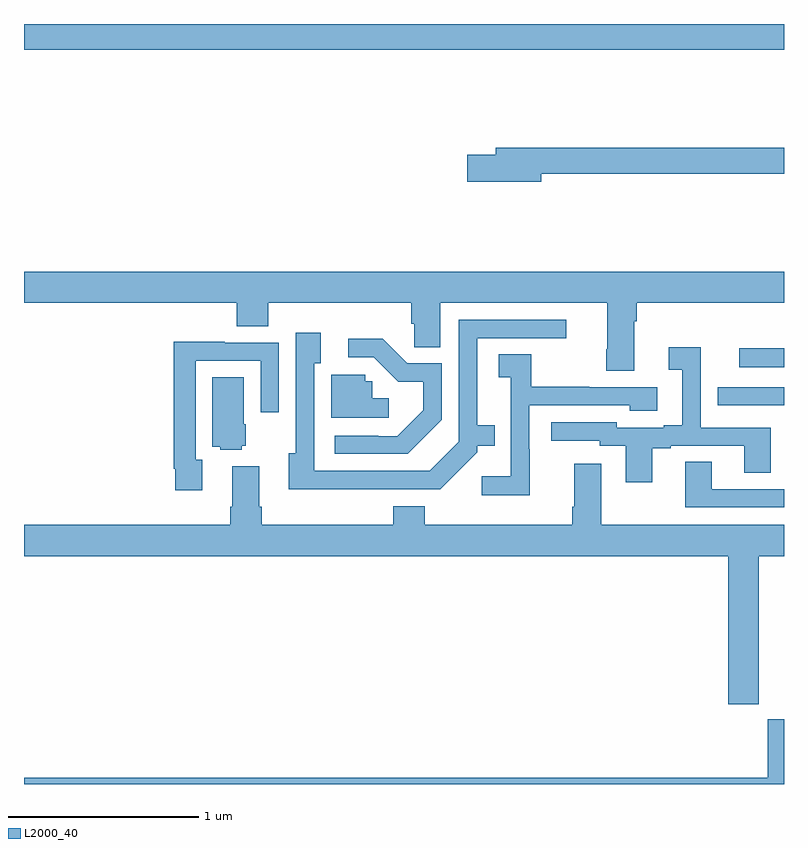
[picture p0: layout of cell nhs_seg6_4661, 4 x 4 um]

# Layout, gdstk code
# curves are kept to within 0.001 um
import gdstk
lib = gdstk.Library(unit=1e-6, precision=1e-09)
def R(c, l, rs):  # rectangles x0, y0, x1, y1
    for r in rs: c.add(gdstk.rectangle(r[:2], r[2:], *l))
def P(c, l, *ps):  # polygons
    for p in ps: c.add(gdstk.Polygon(p, *l))
L2000_40 = (2000, 40)

nhs_seg6_4661 = lib.new_cell('nhs_seg6_4661')
R(nhs_seg6_4661, L2000_40, [(390.765,917.694,391,917.793), (387,919.364,391,919.5)])
P(nhs_seg6_4661, L2000_40, [(389.722,918.712),(391,918.712),(391,918.848),(389.483,918.848),(389.483,918.812),(389.334,918.812),(389.334,918.67),(389.722,918.67)],
  [(390.211,917.936),(390.224,917.936),(390.224,918.032),(391,918.032),(391,918.196),(387,918.196),(387,918.032),(388.121,918.032),(388.121,917.908),(388.286,917.908),(388.286,918.032),(389.039,918.032),(389.039,917.922),(389.053,917.922),(389.053,917.8),(389.191,917.8),(389.191,918.032),(390.071,918.032),(390.071,917.788),(390.064,917.788),(390.064,917.676),(390.211,917.676)],
  [(388.859,917.052),(389.19,917.052),(389.385,917.247),(389.385,917.279),(389.477,917.279),(389.477,917.389),(389.386,917.389),(389.386,917.847),(389.854,917.847),(389.854,917.943),(389.289,917.943),(389.289,917.301),(389.136,917.148),(388.527,917.148),(388.527,917.714),(388.561,917.714),(388.561,917.875),(388.431,917.875),(388.431,917.242),(388.394,917.242),(388.394,917.051)],
  [(389.199,917.417),(389.199,917.715),(389.016,917.715),(388.888,917.843),(388.707,917.843),(388.707,917.745),(388.842,917.745),(388.969,917.618),(389.102,917.618),(389.102,917.468),(388.965,917.331),(388.865,917.331),(388.865,917.334),(388.635,917.334),(388.635,917.238),(389.02,917.238)],
  [(387.937,917.207),(387.903,917.207),(387.903,917.727),(388.245,917.727),(388.245,917.457),(388.341,917.457),(388.341,917.823),(388.057,917.823),(388.057,917.827),(387.787,917.827),(387.787,917.158),(387.795,917.158),(387.795,917.046),(387.937,917.046)],
  [(390.307,917.268),(390.403,917.268),(390.403,917.28),(390.791,917.28),(390.791,917.137),(390.931,917.137),(390.931,917.376),(390.561,917.376),(390.561,917.8),(390.393,917.8),(390.393,917.68),(390.464,917.68),(390.464,917.389),(390.368,917.389),(390.368,917.376),(390.12,917.376),(390.12,917.403),(389.775,917.403),(389.775,917.307),(390.03,917.307),(390.03,917.28),(390.167,917.28),(390.167,917.088),(390.307,917.088)],
  [(389.661,917.261),(389.658,917.261),(389.658,917.493),(390.189,917.493),(390.189,917.465),(390.334,917.465),(390.334,917.589),(389.975,917.589),(389.975,917.592),(389.671,917.592),(389.671,917.762),(389.499,917.762),(389.499,917.641),(389.562,917.641),(389.562,917.119),(389.409,917.119),(389.409,917.021),(389.661,917.021)],
  [(388.921,917.53),(388.833,917.53),(388.833,917.619),(388.797,917.619),(388.797,917.655),(388.616,917.655),(388.616,917.427),(388.921,917.427)],
  [(388.146,917.28),(388.168,917.28),(388.168,917.394),(388.156,917.394),(388.156,917.642),(387.992,917.642),(387.992,917.276),(388.032,917.276),(388.032,917.258),(388.146,917.258)],
  [(391,917.589),(390.651,917.589),(390.651,917.494),(390.763,917.494),(390.763,917.493),(391,917.493)],
  [(391,917.052),(390.619,917.052),(390.619,917.195),(390.479,917.195),(390.479,916.956),(391,916.956)],
  [(390.867,916.7),(391,916.7),(391,916.864),(390.037,916.864),(390.037,917.185),(389.897,917.185),(389.897,916.96),(389.885,916.96),(389.885,916.864),(389.108,916.864),(389.108,916.963),(388.943,916.963),(388.943,916.864),(388.25,916.864),(388.25,916.96),(388.237,916.96),(388.237,917.173),(388.097,917.173),(388.097,916.96),(388.085,916.96),(388.085,916.864),(387,916.864),(387,916.7),(390.707,916.7),(390.707,915.921),(390.867,915.921)],
  [(391,915.841),(390.914,915.841),(390.914,915.532),(387,915.532),(387,915.5),(391,915.5)])

lib.write_gds('nhs_seg6_4661.gds')
